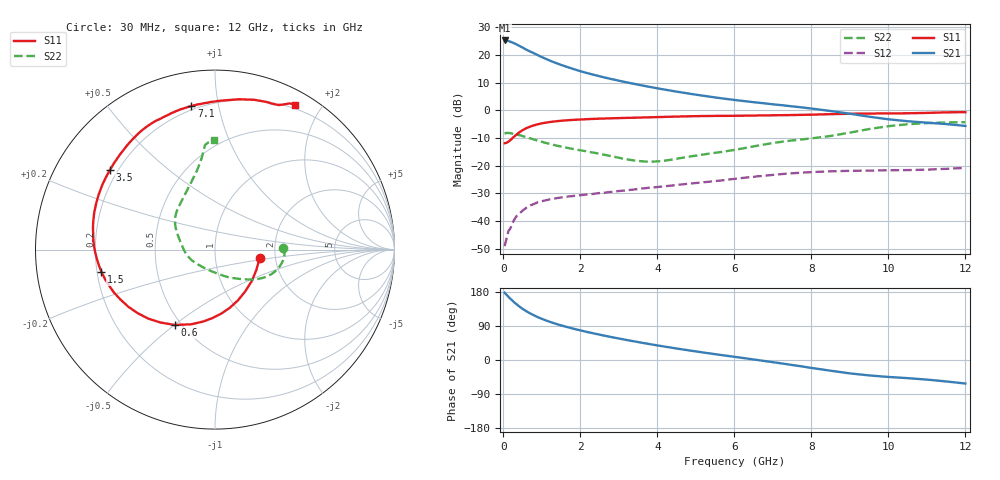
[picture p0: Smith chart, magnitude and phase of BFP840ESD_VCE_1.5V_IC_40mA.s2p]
! Infineon Technologies  Discrete & RF Semiconductors
! BFP840ESD
! VCE =  1.5 V,  IC =  40 mA
! Common Emitter S-Parameters:  May 2012
# GHz  S  MA  R  50
!  f  S11  S21  S12  S22
! GHz  MAG  ANG  MAG  ANG  MAG  ANG  MAG  ANG
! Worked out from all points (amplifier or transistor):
!   93 points, 30 MHz to 12 GHz, reference 50 ohm
!   highest |S21| = 25.2 dB at 30 MHz (marker M1)
!   |S21| within 3 dB of that: start of sweep to 553.5 MHz
!   unconditionally stable (mu >= 1): start of sweep to end of sweep
!   at 1.1 GHz: K = 1.47, MAG = 21.5 dB, |S12| = -32.5 dB
!   at 4.2 GHz: K = 2.13, MAG = 11.4 dB, |S12| = -27.5 dB
!   at 12 GHz: K = 1.38, MAG = 3.9 dB, |S12| = -20.8 dB
!   S11 on the Smith chart (normalised r, x): 30 MHz: 1.65, -0.17; 600 MHz: 0.46, -0.50; 1.5 GHz: 0.22, -0.09; 3.5 GHz: 0.17, +0.33; 7.1 GHz: 0.18, +0.83; 12 GHz: 0.16, +1.68
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0.03  0.2532 -10.9  18.18 177.5  0.0035 37.7  0.3793 1.4
0.13  0.2704 -41.2  17.75 166.8  0.0066 44.5  0.3879 -5.9
0.18  0.2879 -54.5  17.23 161.7  0.0073 50.6  0.3836 -9.0
0.28  0.3347 -75.8  16.14 152.2  0.0105 53.9  0.3734 -14.3
0.33  0.3586 -84.5  15.6 147.9  0.012 52.8  0.3664 -16.6
0.43  0.4062 -99.3  14.31 139.9  0.0139 51.0  0.3515 -21.2
0.5  0.4372 -107.8  13.5 134.8  0.0154 50.0  0.3408 -24.0
0.6  0.4759 -118.1  12.35 128.4  0.0174 48.2  0.3248 -27.5
0.8  0.5352 -134.1  10.62 117.5  0.0203 43.7  0.2943 -33.6
1  0.5787 -146.7  9.087 108.5  0.0227 40.5  0.2684 -38.3
1.2  0.6112 -156.8  7.893 100.9  0.0245 38.1  0.2467 -42.5
1.5  0.6446 -168.9  6.564 91.3  0.0265 36.2  0.2199 -48.1
1.8  0.6678 -178.8  5.593 83.1  0.0281 34.4  0.1999 -53.7
2.1  0.6843 172.7  4.839 75.7  0.0298 34.2  0.1835 -59.4
2.8  0.7136 156.4  3.657 60.6  0.0334 33.7  0.1477 -75.0
3.5  0.7346 142.8  2.888 47.3  0.0376 33.5  0.1211 -101.0
4.1  0.7535 132.6  2.413 36.8  0.0417 32.5  0.1207 -130.1
6.1  0.7937 109.9  1.503 7.1  0.0584 26.5  0.1977 167.5
7.1  0.8113 99.3  1.256 -7.2  0.0689 19.3  0.2612 148.2
8.5  0.8481 81.0  0.967 -28.3  0.0787 6.1  0.3429 120.4
10.5  0.8795 66.3  0.632 -47.9  0.0828 -8.4  0.5576 96.5
12  0.9223 61.2  0.52 -62.1  0.0907 -15.7  0.6082 90.6
